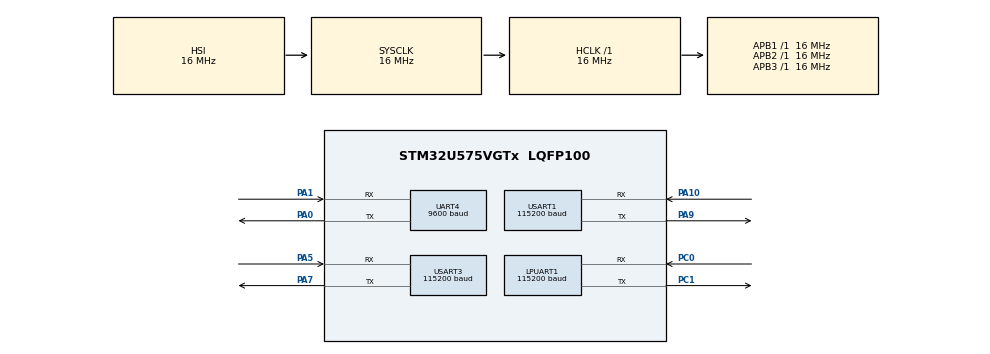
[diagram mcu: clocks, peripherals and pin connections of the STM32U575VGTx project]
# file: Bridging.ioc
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CORTEX_M33_NS.userName=CORTEX_M33
Mcu.Family=STM32U5
Mcu.Name=STM32U575VGTx
Mcu.Package=LQFP100
NVIC.LPUART1_IRQn=true\:0\:0\:false\:false\:true\:true\:true\:true
NVIC.PriorityGroup=NVIC_PRIORITYGROUP_4
NVIC.UART4_IRQn=true\:0\:0\:false\:false\:true\:true\:true\:true
NVIC.USART1_IRQn=true\:0\:0\:false\:false\:true\:true\:true\:true
NVIC.USART3_IRQn=true\:0\:0\:false\:false\:true\:true\:true\:true
PA0.Mode=Asynchronous
PA0.Signal=UART4_TX
PA1.Mode=Asynchronous
PA1.Signal=UART4_RX
PA10.Mode=Asynchronous
PA10.Signal=USART1_RX
PA13\ (JTMS/SWDIO).Mode=Serial_Wire
PA13\ (JTMS/SWDIO).Signal=DEBUG_JTMS-SWDIO
PA14\ (JTCK/SWCLK).Mode=Serial_Wire
PA14\ (JTCK/SWCLK).Signal=DEBUG_JTCK-SWCLK
PA5.Mode=Asynchronous
PA5.Signal=USART3_RX
PA7.Mode=Asynchronous
PA7.Signal=USART3_TX
PA9.Mode=Asynchronous
PA9.Signal=USART1_TX
PC0.Mode=Asynchronous
PC0.Signal=LPUART1_RX
PC1.Mode=Asynchronous
PC1.Signal=LPUART1_TX
ProjectManager.HeapSize=0x200
ProjectManager.StackSize=0x400
ProjectManager.TargetToolchain=MDK-ARM V5.39
RCC.ADCFreq_Value=16000000
RCC.AHBFreq_Value=16000000
RCC.APB1Freq_Value=16000000
RCC.APB1TimFreq_Value=16000000
RCC.APB2Freq_Value=16000000
RCC.APB2TimFreq_Value=16000000
RCC.APB3Freq_Value=16000000
RCC.CortexFreq_Value=16000000
RCC.EPOD_VALUE=4000000
RCC.HCLKFreq_Value=16000000
RCC.HSE_VALUE=16000000
RCC.HSI48_VALUE=48000000
RCC.HSI_VALUE=16000000
RCC.LSE_VALUE=32768
RCC.LSIDIV_VALUE=32000
RCC.MSI_VALUE=4000000
RCC.SYSCLKFreq_VALUE=16000000
RCC.SYSCLKSource=RCC_SYSCLKSOURCE_HSI
RCC.USBFreq_Value=48000000
RCC.VCOOutputFreq_Value=516000000
LPUART1.BaudRate=115200
LPUART1.VirtualMode-Asynchronous=VM_ASYNC
UART4.BaudRate=9600
UART4.VirtualMode-Asynchronous=VM_ASYNC
USART1.BaudRate=115200
USART1.VirtualMode-Asynchronous=VM_ASYNC
USART3.BaudRate=115200
USART3.VirtualMode-Asynchronous=VM_ASYNC
VP_LPBAMQUEUE_VS_QUEUE.Mode=QUEUEMODE
VP_LPBAM_VS_SIG1.Mode=SmartRun
VP_LPBAM_VS_SIG4.Mode=LPDMA1
VP_MEMORYMAP_VS_MEMORYMAP.Mode=CurAppReg
VP_PWR_VS_SECSignals.Mode=Security/Privilege
board=custom

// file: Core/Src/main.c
/* USER CODE BEGIN Header */
/**
  ******************************************************************************
  * @file           : main.c
  * @brief          : Main program body
  ******************************************************************************
  * @attention
  *
  * Copyright (c) 2026 STMicroelectronics.
  * All rights reserved.
  *
  * This software is licensed under terms that can be found in the LICENSE file
  * in the root directory of this software component.
  * If no LICENSE file comes with this software, it is provided AS-IS.
  *
  ******************************************************************************
  */
/* USER CODE END Header */
#include "main.h"

/* USER CODE BEGIN Includes */
#include <string.h>
/* USER CODE END Includes */

/* USER CODE BEGIN PTD */
#define FRAME_SOF0                     0x55U
#define FRAME_SOF1                     0xAAU
#define FRAME_MAX_PAYLOAD              250U
#define BRIDGE_TX_PAYLOAD_SIZE         (FRAME_MAX_PAYLOAD - 1U)
#define UART_RX_DMA_BUFFER_SIZE        512U
#define BRIDGE_TX_QUEUE_DEPTH          128U
#define USART3_RX_QUEUE_SIZE           8192U
#define USART3_TX_FRAME_SIZE           (2U + 1U + 1U + FRAME_MAX_PAYLOAD + 1U)
#define FRAME_PARSE_TIMEOUT_MS         100U
#define USART3_INTER_FRAME_GAP_MS      1U
#define USART3_TX_TIMEOUT_MS           50U

#define PORT_ID_USART1                 1U
#define PORT_ID_UART4                  2U
#define PORT_ID_LPUART1                3U

typedef enum
{
  FRAME_WAIT_SOF0 = 0,
  FRAME_WAIT_SOF1,
  FRAME_WAIT_PORT,
  FRAME_WAIT_LEN,
  FRAME_WAIT_PAYLOAD,
  FRAME_WAIT_CHECKSUM
} FrameParseState;

typedef struct
{
  FrameParseState state;
  uint8_t port_id;
  uint8_t len;
  uint8_t index;
  uint8_t checksum;
  uint8_t payload[FRAME_MAX_PAYLOAD];
} FrameParser;

typedef struct
{
  UART_HandleTypeDef *huart;
  uint8_t *rx_buf[2];
  uint16_t rx_buf_size;
  uint8_t active_rx_buf;
  uint8_t port_id;
  uint8_t pc_port;
  volatile uint8_t restart_pending;   /* FIX: 每端口独立的 RX DMA 重启 pending 标志 */
} UartRxDmaContext;

typedef struct
{
  uint8_t port_id;
  uint8_t len;
  uint8_t payload[FRAME_MAX_PAYLOAD];
} BridgeTxItem;

/* FIX: PC 端口非阻塞 DMA 发送所需的每端口结构(替代原来的阻塞轮询) */
#define PC_TX_QUEUE_DEPTH              32U
#define PC_TX_TIMEOUT_MS               1000U

typedef struct
{
  uint8_t len;
  uint8_t data[FRAME_MAX_PAYLOAD];
} PcTxItem;

typedef struct
{
  UART_HandleTypeDef *huart;
  PcTxItem queue[PC_TX_QUEUE_DEPTH];
  uint8_t dma_buf[FRAME_MAX_PAYLOAD];
  volatile uint8_t head;
  volatile uint8_t tail;
  volatile uint8_t busy;
  volatile uint32_t tx_start_tick;
  volatile uint32_t overflow_count;
} PcTxPort;

/* USER CODE END PTD */

UART_HandleTypeDef hlpuart1;
UART_HandleTypeDef huart4;
UART_HandleTypeDef huart1;
UART_HandleTypeDef huart3;

/* USER CODE BEGIN PV */
static uint8_t usart1_rx_dma_buf[2][UART_RX_DMA_BUFFER_SIZE];
static uint8_t uart4_rx_dma_buf[2][UART_RX_DMA_BUFFER_SIZE];
static uint8_t lpuart1_rx_dma_buf[2][UART_RX_DMA_BUFFER_SIZE];
static uint8_t usart3_rx_dma_buf[2][UART_RX_DMA_BUFFER_SIZE];

static UartRxDmaContext usart1_rx_ctx = {
  &huart1, {usart1_rx_dma_buf[0], usart1_rx_dma_buf[1]},
  UART_RX_DMA_BUFFER_SIZE, 0U, PORT_ID_USART1, 1U
};
static UartRxDmaContext uart4_rx_ctx = {
  &huart4, {uart4_rx_dma_buf[0], uart4_rx_dma_buf[1]},
  UART_RX_DMA_BUFFER_SIZE, 0U, PORT_ID_UART4, 1U
};
static UartRxDmaContext lpuart1_rx_ctx = {
  &hlpuart1, {lpuart1_rx_dma_buf[0], lpuart1_rx_dma_buf[1]},
  UART_RX_DMA_BUFFER_SIZE, 0U, PORT_ID_LPUART1, 1U
};
static UartRxDmaContext usart3_rx_ctx = {
  &huart3, {usart3_rx_dma_buf[0], usart3_rx_dma_buf[1]},
  UART_RX_DMA_BUFFER_SIZE, 0U, 0U, 0U
};
static UartRxDmaContext *const rx_dma_contexts[] = {
  &usart1_rx_ctx,
  &uart4_rx_ctx,
  &lpuart1_rx_ctx,
  &usart3_rx_ctx
};

static FrameParser usart3_frame_parser = {0};
static BridgeTxItem bridge_tx_queue[BRIDGE_TX_QUEUE_DEPTH];
static uint8_t usart3_rx_queue[USART3_RX_QUEUE_SIZE];
static volatile uint8_t bridge_tx_head = 0U;
static volatile uint8_t bridge_tx_tail = 0U;
static volatile uint16_t usart3_rx_head = 0U;
static volatile uint16_t usart3_rx_tail = 0U;
static volatile uint32_t bridge_tx_overflow_count = 0U;
static volatile uint32_t usart3_rx_overflow_count = 0U;
static volatile uint32_t uart_dma_restart_error_count = 0U;
static uint8_t usart3_tx_dma_buf[USART3_TX_FRAME_SIZE];
static volatile uint8_t usart3_tx_dma_busy = 0U;
static volatile uint32_t usart3_tx_start_tick = 0U;
static volatile uint32_t usart3_tx_done_tick = 0U;
static uint32_t usart3_frame_parser_tick = 0U;

/* FIX: 三个 PC 端口的非阻塞 DMA 发送端口(index 0/1/2 对应 port_id 1/2/3) */
static PcTxPort pc_tx_ports[3] = {
  { .huart = &huart1 },
  { .huart = &huart4 },
  { .huart = &hlpuart1 }
};

/* USER CODE END PV */

void SystemClock_Config(void);
static void MX_GPIO_Init(void);
static void MX_LPUART1_UART_Init(void);
static void MX_UART4_Init(void);
static void MX_USART1_UART_Init(void);
static void MX_USART3_UART_Init(void);
/* USER CODE BEGIN PFP */
static void App_InitBridge(void);
static void App_ProcessBridge(void);
static void App_StartAllRxDma(void);
static void App_RetryPendingRxDma(void);
static HAL_StatusTypeDef App_StartRxDma(UartRxDmaContext *ctx);
static UartRxDmaContext *App_GetRxDmaContext(UART_HandleTypeDef *huart);
static void App_TrySendNextBridgeFrame(void);
static void App_CheckTxTimeouts(void);
static void App_ProcessUsart3RxQueue(void);
static void App_HandleUsart3Frame(uint8_t port_id, const uint8_t *payload, uint8_t len);
static void App_SendUartString(USART_TypeDef *uart, const char *text);
static PcTxPort *App_GetPcTxPort(uint8_t port_id);
static void App_QueuePcTx(PcTxPort *port, const uint8_t *payload, uint8_t len);
static void App_TrySendNextPcFrame(PcTxPort *port);
static uint16_t App_BuildBridgeFrame(uint8_t *buf, uint8_t port_id, const uint8_t *payload, uint8_t len);
static uint8_t App_QueueBridgeTx(uint8_t port_id, const uint8_t *payload, uint16_t len);
static void App_QueueUsart3RxBytes(const uint8_t *payload, uint16_t len);
static uint8_t App_DequeueUsart3RxByte(uint8_t *data);
static void App_RestoreIrqState(uint32_t primask);
static uint8_t FrameParser_Input(FrameParser *parser, uint8_t data);

/* USER CODE END PFP */

int main(void)
{

  /* MCU Configuration--------------------------------------------------------*/

  /* Reset of all peripherals, Initializes the Flash interface and the Systick. */
  HAL_Init();

  /* Configure the system clock */
  SystemClock_Config();

  /* Initialize all configured peripherals */
  MX_GPIO_Init();
  MX_LPUART1_UART_Init();
  MX_UART4_Init();
  MX_USART1_UART_Init();
  MX_USART3_UART_Init();
  /* USER CODE BEGIN 2 */
  App_InitBridge();

  /* USER CODE END 2 */

  /* Infinite loop */
  while (1)
  {

    /* USER CODE BEGIN 3 */
    App_ProcessBridge();
  }
  /* USER CODE END 3 */
}

void SystemClock_Config(void)
{
  RCC_OscInitTypeDef RCC_OscInitStruct = {0};
  RCC_ClkInitTypeDef RCC_ClkInitStruct = {0};

  /** Configure the main internal regulator output voltage
  */
  if (HAL_PWREx_ControlVoltageScaling(PWR_REGULATOR_VOLTAGE_SCALE4) != HAL_OK)
  {
    Error_Handler();
  }

  /** Initializes the CPU, AHB and APB buses clocks
  */
  RCC_OscInitStruct.OscillatorType = RCC_OSCILLATORTYPE_HSI;
  RCC_OscInitStruct.HSIState = RCC_HSI_ON;
  RCC_OscInitStruct.HSICalibrationValue = RCC_HSICALIBRATION_DEFAULT;
  RCC_OscInitStruct.PLL.PLLState = RCC_PLL_NONE;
  if (HAL_RCC_OscConfig(&RCC_OscInitStruct) != HAL_OK)
  {
    Error_Handler();
  }

  /** Initializes the CPU, AHB and APB buses clocks
  */
  RCC_ClkInitStruct.ClockType = RCC_CLOCKTYPE_HCLK|RCC_CLOCKTYPE_SYSCLK
                              |RCC_CLOCKTYPE_PCLK1|RCC_CLOCKTYPE_PCLK2
                              |RCC_CLOCKTYPE_PCLK3;
  RCC_ClkInitStruct.SYSCLKSource = RCC_SYSCLKSOURCE_HSI;
  RCC_ClkInitStruct.AHBCLKDivider = RCC_SYSCLK_DIV1;
  RCC_ClkInitStruct.APB1CLKDivider = RCC_HCLK_DIV1;
  RCC_ClkInitStruct.APB2CLKDivider = RCC_HCLK_DIV1;
  RCC_ClkInitStruct.APB3CLKDivider = RCC_HCLK_DIV1;

  if (HAL_RCC_ClockConfig(&RCC_ClkInitStruct, FLASH_LATENCY_1) != HAL_OK)
  {
    Error_Handler();
  }
}

static void MX_LPUART1_UART_Init(void)
{

  hlpuart1.Instance = LPUART1;
  hlpuart1.Init.BaudRate = 115200;
  hlpuart1.Init.WordLength = UART_WORDLENGTH_8B;
  hlpuart1.Init.StopBits = UART_STOPBITS_1;
  hlpuart1.Init.Parity = UART_PARITY_NONE;
  hlpuart1.Init.Mode = UART_MODE_TX_RX;
  hlpuart1.Init.HwFlowCtl = UART_HWCONTROL_NONE;
  hlpuart1.Init.OneBitSampling = UART_ONE_BIT_SAMPLE_DISABLE;
  hlpuart1.Init.ClockPrescaler = UART_PRESCALER_DIV1;
  hlpuart1.AdvancedInit.AdvFeatureInit = UART_ADVFEATURE_NO_INIT;
  hlpuart1.FifoMode = UART_FIFOMODE_DISABLE;
  if (HAL_UART_Init(&hlpuart1) != HAL_OK)
  {
    Error_Handler();
  }
  if (HAL_UARTEx_SetTxFifoThreshold(&hlpuart1, UART_TXFIFO_THRESHOLD_1_8) != HAL_OK)
  {
    Error_Handler();
  }
  if (HAL_UARTEx_SetRxFifoThreshold(&hlpuart1, UART_RXFIFO_THRESHOLD_1_8) != HAL_OK)
  {
    Error_Handler();
  }
  if (HAL_UARTEx_DisableFifoMode(&hlpuart1) != HAL_OK)
  {
    Error_Handler();
  }

}

static void MX_UART4_Init(void)
{

  huart4.Instance = UART4;
  huart4.Init.BaudRate = 9600;
  huart4.Init.WordLength = UART_WORDLENGTH_8B;
  huart4.Init.StopBits = UART_STOPBITS_1;
  huart4.Init.Parity = UART_PARITY_NONE;
  huart4.Init.Mode = UART_MODE_TX_RX;
  huart4.Init.HwFlowCtl = UART_HWCONTROL_NONE;
  huart4.Init.OverSampling = UART_OVERSAMPLING_16;
  huart4.Init.OneBitSampling = UART_ONE_BIT_SAMPLE_DISABLE;
  huart4.Init.ClockPrescaler = UART_PRESCALER_DIV1;
  huart4.AdvancedInit.AdvFeatureInit = UART_ADVFEATURE_NO_INIT;
  if (HAL_UART_Init(&huart4) != HAL_OK)
  {
    Error_Handler();
  }
  if (HAL_UARTEx_SetTxFifoThreshold(&huart4, UART_TXFIFO_THRESHOLD_1_8) != HAL_OK)
  {
    Error_Handler();
  }
  if (HAL_UARTEx_SetRxFifoThreshold(&huart4, UART_RXFIFO_THRESHOLD_1_8) != HAL_OK)
  {
    Error_Handler();
  }
  if (HAL_UARTEx_DisableFifoMode(&huart4) != HAL_OK)
  {
    Error_Handler();
  }

}

static void MX_USART1_UART_Init(void)
{

  huart1.Instance = USART1;
  huart1.Init.BaudRate = 115200;
  huart1.Init.WordLength = UART_WORDLENGTH_8B;
  huart1.Init.StopBits = UART_STOPBITS_1;
  huart1.Init.Parity = UART_PARITY_NONE;
  huart1.Init.Mode = UART_MODE_TX_RX;
  huart1.Init.HwFlowCtl = UART_HWCONTROL_NONE;
  huart1.Init.OverSampling = UART_OVERSAMPLING_16;
  huart1.Init.OneBitSampling = UART_ONE_BIT_SAMPLE_DISABLE;
  huart1.Init.ClockPrescaler = UART_PRESCALER_DIV1;
  huart1.AdvancedInit.AdvFeatureInit = UART_ADVFEATURE_NO_INIT;
  if (HAL_UART_Init(&huart1) != HAL_OK)
  {
    Error_Handler();
  }
  if (HAL_UARTEx_SetTxFifoThreshold(&huart1, UART_TXFIFO_THRESHOLD_1_8) != HAL_OK)
  {
    Error_Handler();
  }
  if (HAL_UARTEx_SetRxFifoThreshold(&huart1, UART_RXFIFO_THRESHOLD_1_8) != HAL_OK)
  {
    Error_Handler();
  }
  if (HAL_UARTEx_DisableFifoMode(&huart1) != HAL_OK)
  {
    Error_Handler();
  }

}

static void MX_USART3_UART_Init(void)
{

  huart3.Instance = USART3;
  huart3.Init.BaudRate = 921600;
  huart3.Init.WordLength = UART_WORDLENGTH_8B;
  huart3.Init.StopBits = UART_STOPBITS_1;
  huart3.Init.Parity = UART_PARITY_NONE;
  huart3.Init.Mode = UART_MODE_TX_RX;
  huart3.Init.HwFlowCtl = UART_HWCONTROL_NONE;
  huart3.Init.OverSampling = UART_OVERSAMPLING_16;
  huart3.Init.OneBitSampling = UART_ONE_BIT_SAMPLE_DISABLE;
  huart3.Init.ClockPrescaler = UART_PRESCALER_DIV1;
  huart3.AdvancedInit.AdvFeatureInit = UART_ADVFEATURE_NO_INIT;
  if (HAL_UART_Init(&huart3) != HAL_OK)
  {
    Error_Handler();
  }
  if (HAL_UARTEx_SetTxFifoThreshold(&huart3, UART_TXFIFO_THRESHOLD_1_8) != HAL_OK)
  {
    Error_Handler();
  }
  if (HAL_UARTEx_SetRxFifoThreshold(&huart3, UART_RXFIFO_THRESHOLD_1_8) != HAL_OK)
  {
    Error_Handler();
  }
  if (HAL_UARTEx_EnableFifoMode(&huart3) != HAL_OK)   /* FIX: 开启 USART3 FIFO,提高高速桥接链路抗中断延迟的余量 */
  {
    Error_Handler();
  }

}

static void MX_GPIO_Init(void)
{

  /* GPIO Ports Clock Enable */
  __HAL_RCC_GPIOC_CLK_ENABLE();
  __HAL_RCC_GPIOA_CLK_ENABLE();

}

/* USER CODE BEGIN 4 */
static void App_InitBridge(void)
{
  App_SendUartString(USART1, "[Board1] USART1 Ready\r\n");
  App_SendUartString(UART4, "[Board1] UART4 Ready\r\n");
  App_SendUartString(LPUART1, "[Board1] LPUART1 Ready\r\n");
  App_StartAllRxDma();
}

static void App_ProcessBridge(void)
{
  App_RetryPendingRxDma();            /* FIX: 重试所有重启失败的 RX DMA(含三个 PC 端口,原来只重试 USART3) */

  App_ProcessUsart3RxQueue();
  App_CheckTxTimeouts();

  /* FIX: 帧解析超时保护——半截帧后断流时强制复位状态机,避免吃掉下一帧的帧头 */
  if (usart3_frame_parser.state != FRAME_WAIT_SOF0)
  {
    if ((HAL_GetTick() - usart3_frame_parser_tick) > FRAME_PARSE_TIMEOUT_MS)
    {
      usart3_frame_parser.state = FRAME_WAIT_SOF0;
    }
  }
  else
  {
    usart3_frame_parser_tick = HAL_GetTick();
  }

  App_TrySendNextBridgeFrame();

  /* FIX: 非阻塞驱动三个 PC 端口的 DMA 发送(替代原来的阻塞 App_SendUartData) */
  App_TrySendNextPcFrame(&pc_tx_ports[0]);
  App_TrySendNextPcFrame(&pc_tx_ports[1]);
  App_TrySendNextPcFrame(&pc_tx_ports[2]);
}

static void App_StartAllRxDma(void)
{
  uint8_t i;

  for (i = 0U; i < (uint8_t)(sizeof(rx_dma_contexts) / sizeof(rx_dma_contexts[0])); i++)
  {
    if (App_StartRxDma(rx_dma_contexts[i]) != HAL_OK)
    {
      Error_Handler();
    }
  }
}

static void App_RetryPendingRxDma(void)
{
  uint8_t i;

  for (i = 0U; i < (uint8_t)(sizeof(rx_dma_contexts) / sizeof(rx_dma_contexts[0])); i++)
  {
    if (rx_dma_contexts[i]->restart_pending != 0U)
    {
      if (App_StartRxDma(rx_dma_contexts[i]) == HAL_OK)
      {
        rx_dma_contexts[i]->restart_pending = 0U;
      }
    }
  }
}

static HAL_StatusTypeDef App_StartRxDma(UartRxDmaContext *ctx)
{
  HAL_StatusTypeDef status;

  if ((ctx == 0) || (ctx->huart == 0) || (ctx->huart->hdmarx == 0))
  {
    return HAL_ERROR;
  }

  __HAL_UART_CLEAR_FLAG(ctx->huart,
                        UART_CLEAR_OREF | UART_CLEAR_FEF |
                        UART_CLEAR_NEF | UART_CLEAR_PEF |
                        UART_CLEAR_IDLEF);

  status = HAL_UARTEx_ReceiveToIdle_DMA(ctx->huart,
                                        ctx->rx_buf[ctx->active_rx_buf],
                                        ctx->rx_buf_size);
  if (status == HAL_OK)
  {
    __HAL_DMA_DISABLE_IT(ctx->huart->hdmarx, DMA_IT_HT);
  }

  return status;
}

static UartRxDmaContext *App_GetRxDmaContext(UART_HandleTypeDef *huart)
{
  uint8_t i;

  for (i = 0U; i < (uint8_t)(sizeof(rx_dma_contexts) / sizeof(rx_dma_contexts[0])); i++)
  {
    if (rx_dma_contexts[i]->huart == huart)
    {
      return rx_dma_contexts[i];
    }
  }

  return 0;
}

static void App_TrySendNextBridgeFrame(void)
{
  BridgeTxItem *item;
  uint16_t frame_len;

  if (usart3_tx_dma_busy != 0U)
  {
    return;
  }

  if (bridge_tx_tail == bridge_tx_head)
  {
    return;
  }

  if ((usart3_tx_done_tick != 0U) &&
      ((HAL_GetTick() - usart3_tx_done_tick) < USART3_INTER_FRAME_GAP_MS))
  {
    return;
  }

  item = &bridge_tx_queue[bridge_tx_tail];
  frame_len = App_BuildBridgeFrame(usart3_tx_dma_buf, item->port_id, item->payload, item->len);
  if (frame_len == 0U)
  {
    bridge_tx_tail = (uint8_t)((bridge_tx_tail + 1U) % BRIDGE_TX_QUEUE_DEPTH);
    return;
  }

  usart3_tx_dma_busy = 1U;
  usart3_tx_start_tick = HAL_GetTick();
  if (HAL_UART_Transmit_DMA(&huart3, usart3_tx_dma_buf, frame_len) != HAL_OK)
  {
    usart3_tx_dma_busy = 0U;
    return;
  }

  bridge_tx_tail = (uint8_t)((bridge_tx_tail + 1U) % BRIDGE_TX_QUEUE_DEPTH);
}

static void App_ProcessUsart3RxQueue(void)
{
  uint8_t data;

  while (App_DequeueUsart3RxByte(&data) != 0U)
  {
    if (FrameParser_Input(&usart3_frame_parser, data) != 0U)
    {
      App_HandleUsart3Frame(usart3_frame_parser.port_id,
                            usart3_frame_parser.payload,
                            usart3_frame_parser.len);
    }
  }
}

static void App_HandleUsart3Frame(uint8_t port_id, const uint8_t *payload, uint8_t len)
{
  PcTxPort *port = App_GetPcTxPort(port_id);

  if ((port != 0) && (len > 0U))
  {
    App_QueuePcTx(port, payload, len);   /* FIX: 入队非阻塞发送,不再逐字节阻塞主循环 */
  }
}

static PcTxPort *App_GetPcTxPort(uint8_t port_id)
{
  if ((port_id >= PORT_ID_USART1) && (port_id <= PORT_ID_LPUART1))
  {
    return &pc_tx_ports[port_id - 1U];   /* port_id 1/2/3 -> index 0/1/2 */
  }
  return 0;
}

static void App_QueuePcTx(PcTxPort *port, const uint8_t *payload, uint8_t len)
{
  uint8_t next_head = (uint8_t)((port->head + 1U) % PC_TX_QUEUE_DEPTH);

  if (next_head == port->tail)
  {
    port->overflow_count++;            /* 队列满,记录丢帧 */
    return;
  }

  if (len > FRAME_MAX_PAYLOAD)
  {
    len = FRAME_MAX_PAYLOAD;
  }

  memcpy(port->queue[port->head].data, payload, len);
  port->queue[port->head].len = len;
  __DMB();
  port->head = next_head;
}

static void App_TrySendNextPcFrame(PcTxPort *port)
{
  PcTxItem *item;

  if (port->busy != 0U)
  {
    return;
  }

  if (port->tail == port->head)
  {
    return;
  }

  item = &port->queue[port->tail];
  memcpy(port->dma_buf, item->data, item->len);

  port->busy = 1U;
  port->tx_start_tick = HAL_GetTick();
  if (HAL_UART_Transmit_DMA(port->huart, port->dma_buf, item->len) != HAL_OK)
  {
    port->busy = 0U;                   /* 启动失败,保留队列项,下次重试 */
    return;
  }

  port->tail = (uint8_t)((port->tail + 1U) % PC_TX_QUEUE_DEPTH);
}

static void App_CheckTxTimeouts(void)
{
  uint8_t i;

  if ((usart3_tx_dma_busy != 0U) &&
      ((HAL_GetTick() - usart3_tx_start_tick) > USART3_TX_TIMEOUT_MS))
  {
    (void)HAL_UART_AbortTransmit(&huart3);
    usart3_tx_dma_busy = 0U;
  }

  for (i = 0U; i < 3U; i++)
  {
    if ((pc_tx_ports[i].busy != 0U) &&
        ((HAL_GetTick() - pc_tx_ports[i].tx_start_tick) > PC_TX_TIMEOUT_MS))
    {
      (void)HAL_UART_AbortTransmit(pc_tx_ports[i].huart);
      pc_tx_ports[i].busy = 0U;
    }
  }
}

static void App_SendUartString(USART_TypeDef *uart, const char *text)
{
  while (*text != '\0')
  {
    while ((uart->ISR & USART_ISR_TXE_TXFNF) == 0U)
    {
    }

    uart->TDR = (uint8_t)(*text);
    text++;
  }
}

static uint16_t App_BuildBridgeFrame(uint8_t *buf, uint8_t port_id, const uint8_t *payload, uint8_t len)
{
  uint8_t checksum;
  uint16_t offset = 0U;
  uint8_t i;

  if (len > FRAME_MAX_PAYLOAD)
  {
    return 0U;
  }

  buf[offset++] = FRAME_SOF0;
  buf[offset++] = FRAME_SOF1;
  buf[offset++] = port_id;
  buf[offset++] = len;

  checksum = (uint8_t)(port_id + len);
  for (i = 0U; i < len; i++)
  {
    buf[offset++] = payload[i];
    checksum = (uint8_t)(checksum + payload[i]);
  }

  buf[offset++] = checksum;
  return offset;
}

static uint8_t App_QueueBridgeTx(uint8_t port_id, const uint8_t *payload, uint16_t len)
{
  uint16_t offset = 0U;

  while (offset < len)
  {
    uint16_t chunk = (uint16_t)(len - offset);
    uint8_t next_head = (uint8_t)((bridge_tx_head + 1U) % BRIDGE_TX_QUEUE_DEPTH);

    if (chunk > BRIDGE_TX_PAYLOAD_SIZE)
    {
      chunk = BRIDGE_TX_PAYLOAD_SIZE;
    }

    if (next_head == bridge_tx_tail)
    {
      bridge_tx_overflow_count++;
      return 0U;
    }

    bridge_tx_queue[bridge_tx_head].port_id = port_id;
    bridge_tx_queue[bridge_tx_head].len = (uint8_t)chunk;
    memcpy(bridge_tx_queue[bridge_tx_head].payload, &payload[offset], chunk);
    __DMB();                          /* FIX: 内存屏障,确保帧内容写入先于 head 更新对消费者可见 */
    bridge_tx_head = next_head;
    offset = (uint16_t)(offset + chunk);
  }

  return 1U;
}

static void App_QueueUsart3RxBytes(const uint8_t *payload, uint16_t len)
{
  uint16_t i;

  for (i = 0U; i < len; i++)
  {
    uint16_t next_head = (uint16_t)((usart3_rx_head + 1U) % USART3_RX_QUEUE_SIZE);

    if (next_head == usart3_rx_tail)
    {
      usart3_rx_overflow_count++;
      return;
    }

    usart3_rx_queue[usart3_rx_head] = payload[i];
    __DMB();                          /* FIX: 内存屏障,确保数据写入先于 head 更新对消费者可见 */
    usart3_rx_head = next_head;
  }
}

static uint8_t App_DequeueUsart3RxByte(uint8_t *data)
{
  uint32_t primask;

  if (usart3_rx_tail == usart3_rx_head)
  {
    return 0U;
  }

  primask = __get_PRIMASK();
  __disable_irq();

  if (usart3_rx_tail == usart3_rx_head)
  {
    App_RestoreIrqState(primask);
    return 0U;
  }

  *data = usart3_rx_queue[usart3_rx_tail];
  usart3_rx_tail = (uint16_t)((usart3_rx_tail + 1U) % USART3_RX_QUEUE_SIZE);
  App_RestoreIrqState(primask);
  return 1U;
}

static void App_RestoreIrqState(uint32_t primask)
{
  if (primask == 0U)
  {
    __enable_irq();
  }
}

static uint8_t FrameParser_Input(FrameParser *parser, uint8_t data)
{
  switch (parser->state)
  {
    case FRAME_WAIT_SOF0:
      if (data == FRAME_SOF0)
      {
        parser->state = FRAME_WAIT_SOF1;
      }
      break;

    case FRAME_WAIT_SOF1:
      if (data == FRAME_SOF1)
      {
        parser->state = FRAME_WAIT_PORT;
      }
      else if (data != FRAME_SOF0)
      {
        parser->state = FRAME_WAIT_SOF0;
      }
      break;

    case FRAME_WAIT_PORT:
      parser->port_id = data;
      parser->checksum = data;
      parser->state = FRAME_WAIT_LEN;
      break;

    case FRAME_WAIT_LEN:
      if (data > FRAME_MAX_PAYLOAD)
      {
        parser->state = FRAME_WAIT_SOF0;
      }
      else
      {
        parser->len = data;
        parser->index = 0U;
        parser->checksum = (uint8_t)(parser->checksum + data);
        parser->state = (data == 0U) ? FRAME_WAIT_CHECKSUM : FRAME_WAIT_PAYLOAD;
      }
      break;

    case FRAME_WAIT_PAYLOAD:
      parser->payload[parser->index++] = data;
      parser->checksum = (uint8_t)(parser->checksum + data);
      if (parser->index >= parser->len)
      {
        parser->state = FRAME_WAIT_CHECKSUM;
      }
      break;

    case FRAME_WAIT_CHECKSUM:
      parser->state = FRAME_WAIT_SOF0;
      if (parser->checksum == data)
      {
        return 1U;
      }
      break;

    default:
      parser->state = FRAME_WAIT_SOF0;
      break;
  }

  return 0U;
}

/* App_GetPcUart 已移除:PC 路由现在通过 App_GetPcTxPort + DMA 非阻塞发送实现 */

void HAL_UART_TxCpltCallback(UART_HandleTypeDef *huart)
{
  uint8_t i;

  if (huart->Instance == USART3)
  {
    usart3_tx_done_tick = HAL_GetTick();
    usart3_tx_dma_busy = 0U;
    return;
  }

  /* FIX: PC 端口 DMA 发送完成,清除对应 busy 标志 */
  for (i = 0U; i < 3U; i++)
  {
    if (pc_tx_ports[i].huart == huart)
    {
      pc_tx_ports[i].busy = 0U;
      break;
    }
  }
}

void HAL_UARTEx_RxEventCallback(UART_HandleTypeDef *huart, uint16_t Size)
{
  UartRxDmaContext *ctx = App_GetRxDmaContext(huart);
  uint8_t *completed_buf;

  if (ctx == 0)
  {
    return;
  }

  if (HAL_UARTEx_GetRxEventType(huart) == HAL_UART_RXEVENT_HT)
  {
    return;
  }

  if (Size > ctx->rx_buf_size)
  {
    Size = ctx->rx_buf_size;
  }

  completed_buf = ctx->rx_buf[ctx->active_rx_buf];
  ctx->active_rx_buf ^= 1U;

  if (App_StartRxDma(ctx) != HAL_OK)
  {
    ctx->restart_pending = 1U;        /* FIX: 所有端口都支持 pending 重试(原来只有 USART3) */
    uart_dma_restart_error_count++;
  }

  if (Size > 0U)
  {
    if (ctx->pc_port != 0U)
    {
      (void)App_QueueBridgeTx(ctx->port_id, completed_buf, Size);
    }
    else
    {
      App_QueueUsart3RxBytes(completed_buf, Size);
    }
  }
}

void HAL_UART_ErrorCallback(UART_HandleTypeDef *huart)
{
  UartRxDmaContext *ctx = App_GetRxDmaContext(huart);

  if (ctx == 0)
  {
    return;
  }

  __HAL_UART_CLEAR_FLAG(huart,
                        UART_CLEAR_OREF | UART_CLEAR_FEF |
                        UART_CLEAR_NEF | UART_CLEAR_PEF |
                        UART_CLEAR_IDLEF);

  if (App_StartRxDma(ctx) != HAL_OK)
  {
    ctx->restart_pending = 1U;        /* FIX: 所有端口都支持 pending 重试(原来只有 USART3) */
    uart_dma_restart_error_count++;
  }
}

/* USER CODE END 4 */

void Error_Handler(void)
{
  __disable_irq();
  while (1)
  {
  }
}
